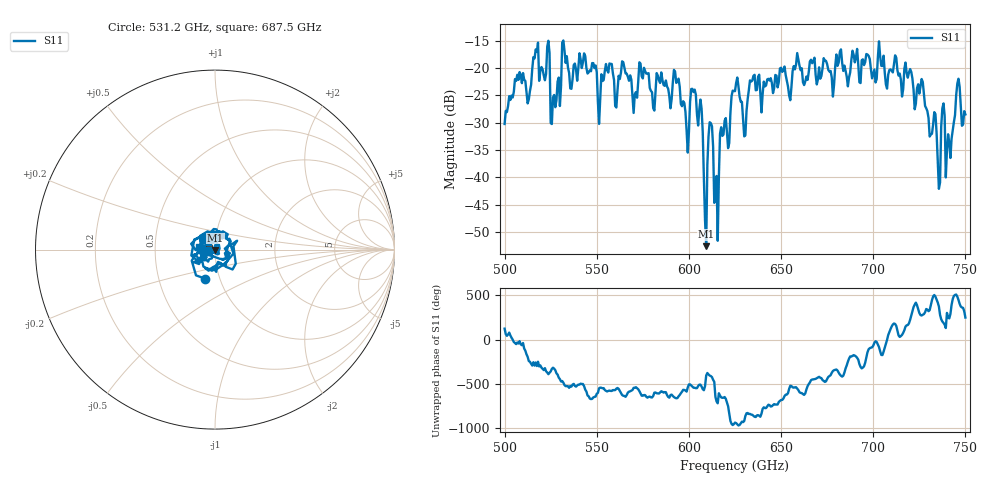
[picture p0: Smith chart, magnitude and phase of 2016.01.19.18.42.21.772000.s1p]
!Created with skrf (http://scikit-rf.org).
# GHz S RI R 50.0
!freq ReS11 ImS11
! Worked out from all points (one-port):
!   401 points, 500 GHz to 750 GHz, reference 50 ohm
!   lowest |S11| = -52.5 dB at 609.4 GHz (marker M1), VSWR 1.00, Z = 50.2 - j0.168 ohm
!   |S11| at or under -10 dB: start of sweep to end of sweep
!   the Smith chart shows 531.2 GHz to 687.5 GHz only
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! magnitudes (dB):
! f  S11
! 500 GHz  -30.2
! 506.9 GHz  -21.2
! 513.1 GHz  -25.7
! 516.9 GHz  -16.6
! 523.1 GHz  -16.1
! 526.2 GHz  -25.4
! 531.2 GHz  -15.4
! 551.9 GHz  -25.8
! 562.5 GHz  -22.0
! 593.8 GHz  -22.5
! 598.8 GHz  -31.5
! 602.5 GHz  -24.4
! 606.2 GHz  -25.8
! 609.4 GHz  -52.5
! 611.9 GHz  -30.1
! 615 GHz  -39.7
! 618.1 GHz  -32.4
! 625 GHz  -24.2
! 630 GHz  -32.5
! 634.4 GHz  -22.3
! 656.2 GHz  -20.6
! 687.5 GHz  -20.8
! 718.8 GHz  -21.8
! 735.6 GHz  -42.1
! 738.1 GHz  -26.5
! 740.6 GHz  -32.1
! 746.2 GHz  -22.0
! 750 GHz  -28.5
